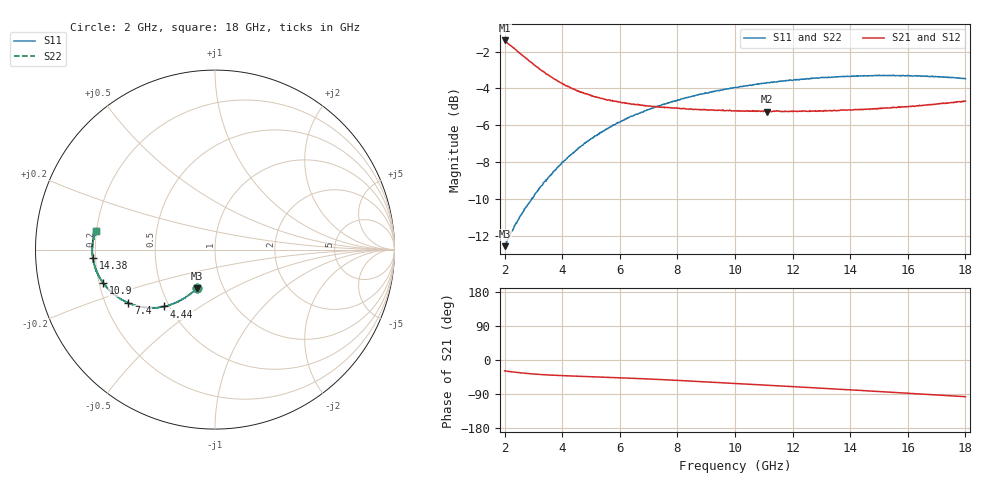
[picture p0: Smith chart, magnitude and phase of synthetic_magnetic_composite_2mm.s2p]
! SYNTHETIC DEMONSTRATION DATA - generated by examples/make_synthetic_s2p.py (nrw.forward ABCD cascade)
! eps model: Debye(eps_inf=6.0, delta=4.0, f_relax=5000000000.0, sigma_dc=0.0)
! mu model: Lorentz(eps_inf=1.0, delta=2.5, f0=4000000000.0, gamma_f=6000000000.0)
! length_m: 0.002
! geometry: 7 mm coax (TEM)
! noise: circular complex Gaussian, rms 1e-3, seed 2026
# HZ S RI R 50
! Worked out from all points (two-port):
!   801 points, 2 GHz to 18 GHz, reference 50 ohm
!   highest |S21| = -1.40 dB at 2 GHz (marker M1); lowest = -5.3 dB at 11.12 GHz (marker M2)
!   |S21| within 3 dB of the highest: start of sweep to 5.015 GHz; 5.034593 GHz to 5.042104 GHz (7.511 MHz wide, 0.149 % of centre)
!   lowest |S11| = -12.6 dB at 2 GHz (marker M3), VSWR 1.62, Z = 37.6 - j17 ohm
!   |S11| at or under -10 dB: start of sweep to 2.932 GHz
!   |S22| runs from -12.5 to -3.3 dB; largest |S21 - S12| = 0.0033
!   S11 on the Smith chart (normalised r, x): 2 GHz: 0.75, -0.34; 4.44 GHz: 0.47, -0.36; 7.4 GHz: 0.30, -0.26; 10.9 GHz: 0.22, -0.14; 14.38 GHz: 0.19, -0.03; 18 GHz: 0.20, +0.08
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2e9  -0.0996 -0.2135  0.7475 -0.4073  0.7451 -0.4083  -0.0993 -0.214
2.08e9  -0.1043 -0.2196  0.7311 -0.4132  0.7327 -0.4131  -0.1048 -0.2201
2.32e9  -0.1225 -0.2344  0.6901 -0.428  0.6882 -0.4271  -0.1218 -0.235
2.64e9  -0.1451 -0.2536  0.6379 -0.4373  0.6379 -0.4373  -0.146 -0.2527
2.92e9  -0.165 -0.2671  0.5979 -0.4408  0.597 -0.4413  -0.1671 -0.2686
3.22e9  -0.1899 -0.2811  0.5597 -0.4393  0.5587 -0.4392  -0.1889 -0.2799
3.78e9  -0.2322 -0.3009  0.5072 -0.4324  0.5052 -0.4322  -0.2327 -0.3023
4.44e9  -0.2849 -0.317  0.4618 -0.4231  0.4621 -0.4243  -0.2844 -0.3175
4.68e9  -0.3034 -0.3206  0.4485 -0.4225  0.4479 -0.4212  -0.3037 -0.3215
5.78e9  -0.3835 -0.3234  0.4043 -0.4204  0.4033 -0.4208  -0.385 -0.323
6.34e9  -0.4215 -0.3166  0.3846 -0.4259  0.3856 -0.4264  -0.4202 -0.3162
7.34e9  -0.4811 -0.298  0.3511 -0.439  0.3518 -0.4411  -0.4805 -0.2985
7.4e9  -0.4829 -0.2963  0.3504 -0.4389  0.3501 -0.4409  -0.484 -0.2973
8.72e9  -0.5465 -0.2605  0.3051 -0.4612  0.3044 -0.4614  -0.5478 -0.2593
1e10  -0.5965 -0.2186  0.2593 -0.483  0.2588 -0.4829  -0.5958 -0.2179
1.09e10  -0.6226 -0.1854  0.2267 -0.4973  0.2252 -0.4973  -0.6236 -0.1869
1.112e10  -0.6291 -0.1787  0.2187 -0.4999  0.2168 -0.5007  -0.6285 -0.1783
1.268e10  -0.6623 -0.1179  0.1576 -0.5247  0.1587 -0.5228  -0.6617 -0.1161
1.438e10  -0.6802 -0.0464  0.0909 -0.5455  0.0915 -0.5454  -0.6822 -0.0462
1.534e10  -0.6832 -0.00554  0.0515 -0.5562  0.0515 -0.5556  -0.6838 -0.00559
1.66e10  -0.6793 0.0478  -0.00334 -0.5687  -0.00409 -0.568  -0.6795 0.0472
1.8e10  -0.662 0.1052  -0.0702 -0.5789  -0.0698 -0.5786  -0.663 0.1059
